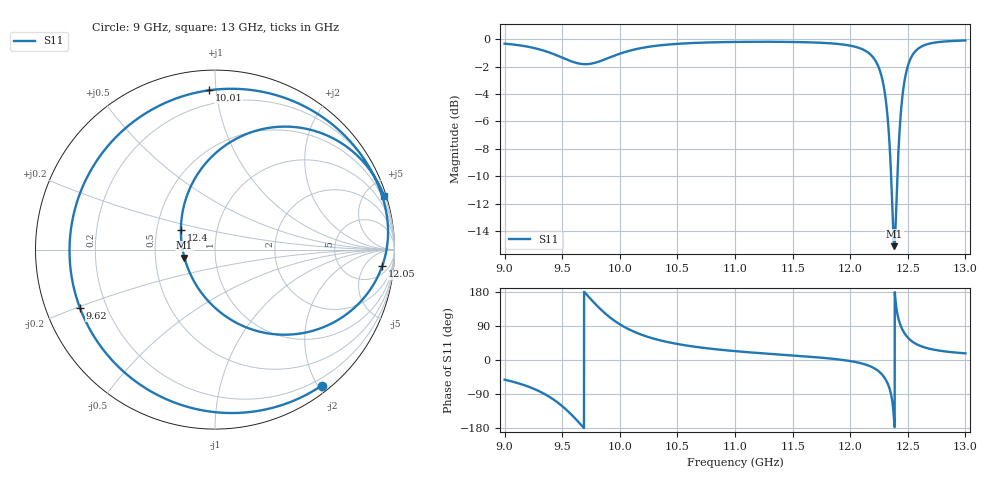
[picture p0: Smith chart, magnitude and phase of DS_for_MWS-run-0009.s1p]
! TOUCHSTONE file generated by CST DESIGN STUDIO
! Date and time: Wed Feb  5 13:44:25 2025
! Project name: C:\Work\MatlabApps\UnitCellOptimizationMatlab\CST\unitcell.cst
! Tree item: Tasks\Sweep1\SPara1\S-Parameters
! Header version: 2024
! Port assignment regex: !\s*Touchstone port\s*([0-9]+)\s*=\s*(CST MWS port|CST DES external port|CST DES block port)\s*(.+)\s* \(\"(.*)\"\)(\s*mode\s*([0-9]+))?.*
! Touchstone port assignment:
! Touchstone port 1 = CST DES external port 1 ("")
# GHz S MA R 50
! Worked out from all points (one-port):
!   4001 points, 9 GHz to 13 GHz, reference 50 ohm
!   lowest |S11| = -15.1 dB at 12.38 GHz (marker M1), VSWR 1.43, Z = 35.3 - j3.23 ohm
!   |S11| at or under -10 dB: 12.35536 GHz to 12.40938 GHz (54.03 MHz wide, 0.436 % of centre)
!   S11 on the Smith chart (normalised r, x): 9 GHz: 0.10, -2.05; 9.62 GHz: 0.10, -0.20; 10.01 GHz: 0.11, +0.96; 12.05 GHz: 9, -14; 12.4 GHz: 0.67, +0.16; 13 GHz: 0.24, +6.46
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9  0.9628 -52.0
9.168  0.9439 -66.1
9.321  0.913 -85.6
9.417  0.8849 -102.7
9.5  0.8563 -121.8
9.62  0.8196 -156.7
9.693  0.8105 179.0
9.766  0.8163 154.6
9.879  0.8465 121.3
10  0.885 94.2
10.012  0.8884 92.0
10.229  0.9346 62.4
10.5  0.9612 42.3
11  0.9768 23.4
11.5  0.9764 11.9
12  0.9468 -2.8
12.052  0.9358 -5.7
12.212  0.8434 -22.4
12.263  0.7557 -34.0
12.306  0.6136 -50.6
12.345  0.3904 -78.7
12.383  0.1761 -165.4
12.396  0.2204 149.6
12.446  0.5779 85.0
12.5  0.7974 59.2
12.565  0.9028 43.5
12.654  0.9538 32.5
13  0.9889 17.6
